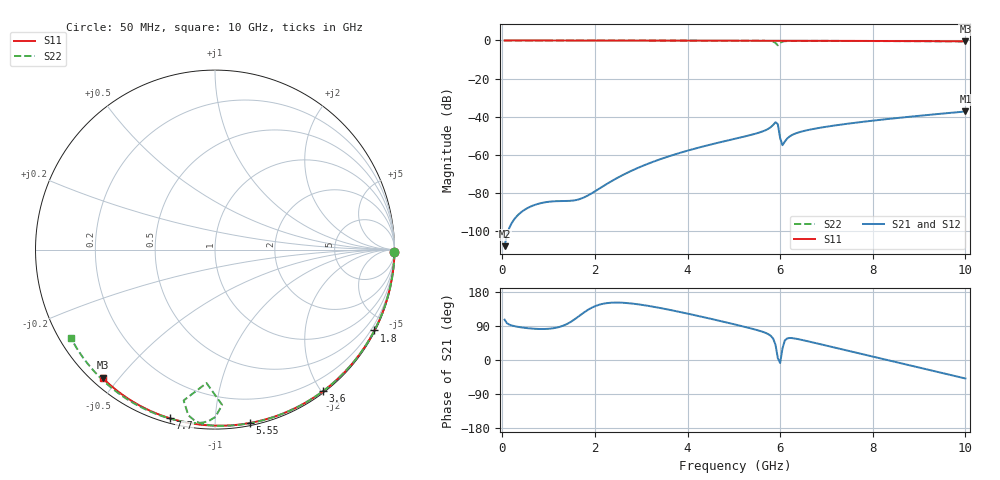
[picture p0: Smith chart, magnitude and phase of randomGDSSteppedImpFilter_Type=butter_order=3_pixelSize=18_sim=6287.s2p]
! freq	dB(S11)	phase(S11)	dB(S12)	phase(S12)
!  dB(S21)	phase(S21)	dB(S22)	phase(S22)
!S-par simulation data
#  GHz  S  DB  R 50
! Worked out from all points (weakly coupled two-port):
!   200 points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, 50 MHz to 10 GHz, reference 50 ohm
!   highest |S21| = -37.32 dB at 10 GHz (marker M1); lowest = -108.1 dB at 50 MHz (marker M2)
!   lowest |S11| = -0.4 dB at 10 GHz (marker M3), VSWR 39.26, Z = 1.53 - j22.6 ohm
!   |S11| at or under -10 dB: nowhere
!   |S22| runs from -2.6 to 0.0 dB; largest |S21 - S12| = 0
!   S11 on the Smith chart (normalised r, x): 50 MHz: open; 1.8 GHz: 0.04, -4.18; 3.6 GHz: 0.02, -2.02; 5.55 GHz: 0.02, -1.22; 7.7 GHz: 0.02, -0.77; 10 GHz: 0.03, -0.45
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0.05  -0.00 -0.8  -108.06 106.5  -108.06 106.5  -0.00 -0.9
0.9  -0.02 -13.6  -85.11 81.8  -85.11 81.8  -0.02 -15.5
1.75  -0.03 -26.2  -82.61 124.2  -82.61 124.2  -0.04 -29.8
1.8  -0.03 -26.9  -82.04 128.4  -82.04 128.4  -0.04 -30.6
1.95  -0.04 -29.1  -80.01 139.1  -80.01 139.1  -0.04 -33.1
2.65  -0.05 -39.2  -70.09 150.7  -70.09 150.7  -0.06 -44.6
3.4  -0.07 -49.8  -62.48 137.5  -62.48 137.5  -0.07 -56.6
3.6  -0.07 -52.6  -60.83 132.7  -60.83 132.7  -0.08 -59.8
5.05  -0.11 -72.1  -51.50 93.0  -51.50 93.0  -0.13 -82.2
5.55  -0.13 -78.6  -48.37 77.2  -48.37 77.2  -0.17 -90.4
5.8  -0.14 -81.7  -45.49 63.5  -45.49 63.5  -0.36 -96.8
5.85  -0.14 -82.4  -44.34 56.2  -44.34 56.2  -0.59 -99.2
5.9  -0.14 -83.0  -42.96 40.0  -42.96 40.0  -1.33 -101.7
5.95  -0.14 -83.6  -43.99 4.9  -43.99 4.9  -2.56 -93.6
6  -0.15 -84.3  -51.36 -8.1  -51.36 -8.1  -1.25 -87.4
6.05  -0.15 -84.9  -55.02 30.5  -55.02 30.5  -0.61 -89.8
6.15  -0.15 -86.1  -51.58 56.8  -51.58 56.8  -0.32 -93.6
6.25  -0.16 -87.4  -49.76 57.9  -49.76 57.9  -0.25 -96.1
6.7  -0.18 -92.9  -46.56 46.5  -46.56 46.5  -0.22 -103.7
7.7  -0.24 -104.9  -42.99 17.7  -42.99 17.7  -0.28 -117.7
8.35  -0.29 -112.5  -41.19 -0.9  -41.19 -0.9  -0.33 -126.5
10  -0.44 -131.3  -37.32 -48.8  -37.32 -48.8  -0.52 -148.6
